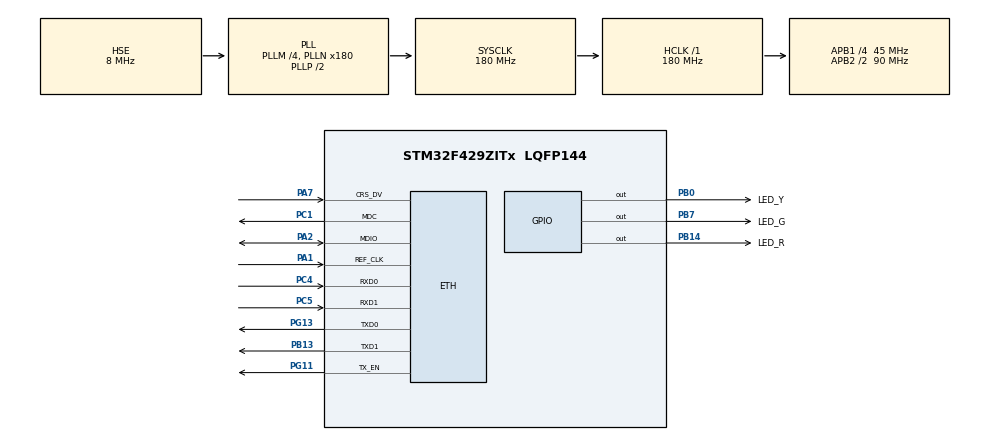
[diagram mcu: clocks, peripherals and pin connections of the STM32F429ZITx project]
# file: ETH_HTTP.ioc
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ETH.MediaInterface=HAL_ETH_RMII_MODE
LWIP.BSP.number=1
LWIP.CHECKSUM_BY_HARDWARE=0
LWIP.GATEWAY_ADDRESS=192.168.000.001
LWIP.IP_ADDRESS=192.168.000.010
LWIP.LWIP_DHCP=0
LWIP.LWIP_HTTPD=1
LWIP.LWIP_HTTPD_CGI=1
LWIP.LWIP_HTTPD_MAX_TAG_NAME_LEN=16
LWIP.LWIP_RAM_HEAP_POINTER=0x2000E378
LWIP.NETMASK_ADDRESS=255.255.255.000
LWIP.TCP_QUEUE_OOSEQ=0
LWIP.Version=v2.1.2_Cube
LWIP0.BSP.STBoard=false
LWIP0.BSP.api=BSP_COMPONENT_DRIVER
LWIP0.BSP.component=LAN8742
LWIP0.BSP.i2caddr=0
LWIP0.BSP.instance=LAN8742
LWIP0.BSP.name=Driver_PHY
LWIP0.BSP.semaphore=S_LAN8742
LWIP0.BSP.solution=LAN8742
Mcu.Family=STM32F4
Mcu.Name=STM32F429ZITx
Mcu.Package=LQFP144
NVIC.PriorityGroup=NVIC_PRIORITYGROUP_4
PA1.Mode=RMII
PA1.Signal=ETH_REF_CLK
PA13.Mode=Serial_Wire
PA13.Signal=SYS_JTMS-SWDIO
PA14.Mode=Serial_Wire
PA14.Signal=SYS_JTCK-SWCLK
PA2.Mode=RMII
PA2.Signal=ETH_MDIO
PA7.Mode=RMII
PA7.Signal=ETH_CRS_DV
PB0.GPIO_Label=LED_Y
PB0.Signal=GPIO_Output
PB13.Mode=RMII
PB13.Signal=ETH_TXD1
PB14.GPIO_Label=LED_R
PB14.Signal=GPIO_Output
PB7.GPIO_Label=LED_G
PB7.Signal=GPIO_Output
PC1.Mode=RMII
PC1.Signal=ETH_MDC
PC4.Mode=RMII
PC4.Signal=ETH_RXD0
PC5.Mode=RMII
PC5.Signal=ETH_RXD1
PG11.Mode=RMII
PG11.Signal=ETH_TX_EN
PG13.Mode=RMII
PG13.Signal=ETH_TXD0
PH0/OSC_IN.Mode=HSE-External-Oscillator
PH0/OSC_IN.Signal=RCC_OSC_IN
PH1/OSC_OUT.Mode=HSE-External-Oscillator
PH1/OSC_OUT.Signal=RCC_OSC_OUT
ProjectManager.HeapSize=0x2000
ProjectManager.StackSize=0x4000
ProjectManager.TargetToolchain=STM32CubeIDE
RCC.48MHZClocksFreq_Value=90000000
RCC.AHBFreq_Value=180000000
RCC.APB1CLKDivider=RCC_HCLK_DIV4
RCC.APB1Freq_Value=45000000
RCC.APB1TimFreq_Value=90000000
RCC.APB2CLKDivider=RCC_HCLK_DIV2
RCC.APB2Freq_Value=90000000
RCC.APB2TimFreq_Value=180000000
RCC.CortexFreq_Value=180000000
RCC.HCLKFreq_Value=180000000
RCC.HSE_VALUE=8000000
RCC.HSI_VALUE=16000000
RCC.LSE_VALUE=32768
RCC.PLLM=4
RCC.PLLN=180
RCC.PLLSourceVirtual=RCC_PLLSOURCE_HSE
RCC.SYSCLKFreq_VALUE=180000000
RCC.SYSCLKSource=RCC_SYSCLKSOURCE_PLLCLK
RCC.VCOOutputFreq_Value=360000000
VP_LWIP_VS_Enabled.Mode=Enabled
board=custom

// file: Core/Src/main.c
/* USER CODE BEGIN Header */
/**
  ******************************************************************************
  * @file           : main.c
  * @brief          : Main program body
  ******************************************************************************
  * @attention
  *
  * Copyright (c) 2022 STMicroelectronics.
  * All rights reserved.
  *
  * This software is licensed under terms that can be found in the LICENSE file
  * in the root directory of this software component.
  * If no LICENSE file comes with this software, it is provided AS-IS.
  *
  ******************************************************************************
  */
/* USER CODE END Header */
#include "main.h"
#include "lwip.h"

/* USER CODE BEGIN Includes */

#include "lwip/apps/httpd.h"
/*
#include "lwip/def.h"
#include "lwip/mem.h"
#include "lwip/opt.h"
*/

#include "string.h"

#include "stdbool.h"

bool LD1ON = 0;
bool LD2ON = 0;

/* USER CODE END Includes */

/* USER CODE BEGIN PV */
extern uint8_t TIM_N_10ms;
extern uint8_t TIM_N_20ms;

#define numSSItags 2

const char* LedCGIhandler(int iIndex,int iNumParams,char *pcParams[],char *pcValue[]);

char const *theSSItags[numSSItags] = { "tag1","tag2" };

const tCGI LedCGI = {"/leds.cgi",LedCGIhandler};

tCGI theCGItable[1];

/* USER CODE END PV */

void SystemClock_Config(void);
static void MX_GPIO_Init(void);

/* USER CODE BEGIN 0 */

const char* LedCGIhandler(int iIndex,int iNumParams,char *pcParams[],char *pcValue[])
{
	uint32_t i = 1;

	if(iIndex == 0)
	{
		HAL_GPIO_WritePin(LED_R_GPIO_Port, LED_R_Pin, GPIO_PIN_RESET);
		HAL_GPIO_WritePin(LED_Y_GPIO_Port, LED_Y_Pin, GPIO_PIN_RESET);
		HAL_GPIO_WritePin(LED_G_GPIO_Port, LED_G_Pin, GPIO_PIN_RESET);
	}

//	for (i = 0; i < iNumParams; i++) {

	if(i == iNumParams)
	{

		//if(strcmp(pcParams[i],"led") == 0)
		//{
//			HAL_GPIO_WritePin(LED_R_GPIO_Port, LED_R_Pin, GPIO_PIN_SET);

				if(strcmp(pcValue[i],"1") == 1)
				{
					HAL_GPIO_WritePin(LED_R_GPIO_Port, LED_R_Pin, GPIO_PIN_SET);
//					LD1ON = 1;
				}
				else if(strcmp(pcValue[i],"2") == 1)
				{
					HAL_GPIO_WritePin(LED_Y_GPIO_Port, LED_Y_Pin, GPIO_PIN_SET);
//					LD2ON = 1;
				}
				else if(strcmp(pcValue[i],"3") == 1)
				{
					HAL_GPIO_WritePin(LED_G_GPIO_Port, LED_G_Pin, GPIO_PIN_RESET);
				}
		//}

		//https://www.youtube.com/watch?v=yqTMGnk1nDU&t=213s
	//https://github.com/mfauzi/STM32F4/blob/master/STM32F4%20Discovery%20Software%20Examples/STM32F4xx_Ethernet_Example/Project/Standalone/httpserver/src/httpd_cgi_ssi.c
	}

	return "/index.html";

}

void myCGIint(void)
{
	theCGItable[0] = LedCGI;

	http_set_cgi_handlers(theCGItable,1);

}

/* USER CODE END 0 */

int main(void)
{

  /* MCU Configuration--------------------------------------------------------*/

  /* Reset of all peripherals, Initializes the Flash interface and the Systick. */
  HAL_Init();

  /* Configure the system clock */
  SystemClock_Config();

  /* Initialize all configured peripherals */
  MX_GPIO_Init();
  MX_LWIP_Init();
  /* USER CODE BEGIN 2 */
  httpd_init();

  myCGIint();
  /* USER CODE END 2 */

  /* Infinite loop */
  /* USER CODE BEGIN WHILE */
  while (1)
  {
	  MX_LWIP_Process();

	  	/*	if (TIM_N_10ms <= 50 && 1)
	  		{
	  		//	TIM_N_10ms = 100;
	  			HAL_GPIO_TogglePin(LED_R_GPIO_Port, LED_R_Pin);
	  		}
	  		if (TIM_N_20ms >= 200 && 1)
	  			  		{
	  			  			HAL_GPIO_TogglePin(LED_Y_GPIO_Port, LED_Y_Pin);
	  			  		}*/

    /* USER CODE END WHILE */

  }
}

void SystemClock_Config(void)
{
  RCC_OscInitTypeDef RCC_OscInitStruct = {0};
  RCC_ClkInitTypeDef RCC_ClkInitStruct = {0};

  /** Configure the main internal regulator output voltage
  */
  __HAL_RCC_PWR_CLK_ENABLE();
  __HAL_PWR_VOLTAGESCALING_CONFIG(PWR_REGULATOR_VOLTAGE_SCALE1);

  /** Initializes the RCC Oscillators according to the specified parameters
  * in the RCC_OscInitTypeDef structure.
  */
  RCC_OscInitStruct.OscillatorType = RCC_OSCILLATORTYPE_HSE;
  RCC_OscInitStruct.HSEState = RCC_HSE_ON;
  RCC_OscInitStruct.PLL.PLLState = RCC_PLL_ON;
  RCC_OscInitStruct.PLL.PLLSource = RCC_PLLSOURCE_HSE;
  RCC_OscInitStruct.PLL.PLLM = 4;
  RCC_OscInitStruct.PLL.PLLN = 180;
  RCC_OscInitStruct.PLL.PLLP = RCC_PLLP_DIV2;
  RCC_OscInitStruct.PLL.PLLQ = 4;
  if (HAL_RCC_OscConfig(&RCC_OscInitStruct) != HAL_OK)
  {
    Error_Handler();
  }

  /** Activate the Over-Drive mode
  */
  if (HAL_PWREx_EnableOverDrive() != HAL_OK)
  {
    Error_Handler();
  }

  /** Initializes the CPU, AHB and APB buses clocks
  */
  RCC_ClkInitStruct.ClockType = RCC_CLOCKTYPE_HCLK|RCC_CLOCKTYPE_SYSCLK
                              |RCC_CLOCKTYPE_PCLK1|RCC_CLOCKTYPE_PCLK2;
  RCC_ClkInitStruct.SYSCLKSource = RCC_SYSCLKSOURCE_PLLCLK;
  RCC_ClkInitStruct.AHBCLKDivider = RCC_SYSCLK_DIV1;
  RCC_ClkInitStruct.APB1CLKDivider = RCC_HCLK_DIV4;
  RCC_ClkInitStruct.APB2CLKDivider = RCC_HCLK_DIV2;

  if (HAL_RCC_ClockConfig(&RCC_ClkInitStruct, FLASH_LATENCY_5) != HAL_OK)
  {
    Error_Handler();
  }
}

static void MX_GPIO_Init(void)
{
  GPIO_InitTypeDef GPIO_InitStruct = {0};

  /* GPIO Ports Clock Enable */
  __HAL_RCC_GPIOH_CLK_ENABLE();
  __HAL_RCC_GPIOC_CLK_ENABLE();
  __HAL_RCC_GPIOA_CLK_ENABLE();
  __HAL_RCC_GPIOB_CLK_ENABLE();
  __HAL_RCC_GPIOG_CLK_ENABLE();

  /*Configure GPIO pin Output Level */
  HAL_GPIO_WritePin(GPIOB, LED_Y_Pin|LED_R_Pin|LED_G_Pin, GPIO_PIN_RESET);

  /*Configure GPIO pins : LED_Y_Pin LED_R_Pin LED_G_Pin */
  GPIO_InitStruct.Pin = LED_Y_Pin|LED_R_Pin|LED_G_Pin;
  GPIO_InitStruct.Mode = GPIO_MODE_OUTPUT_PP;
  GPIO_InitStruct.Pull = GPIO_NOPULL;
  GPIO_InitStruct.Speed = GPIO_SPEED_FREQ_LOW;
  HAL_GPIO_Init(GPIOB, &GPIO_InitStruct);

}

void Error_Handler(void)
{
  __disable_irq();
  while (1)
  {
  }
}
